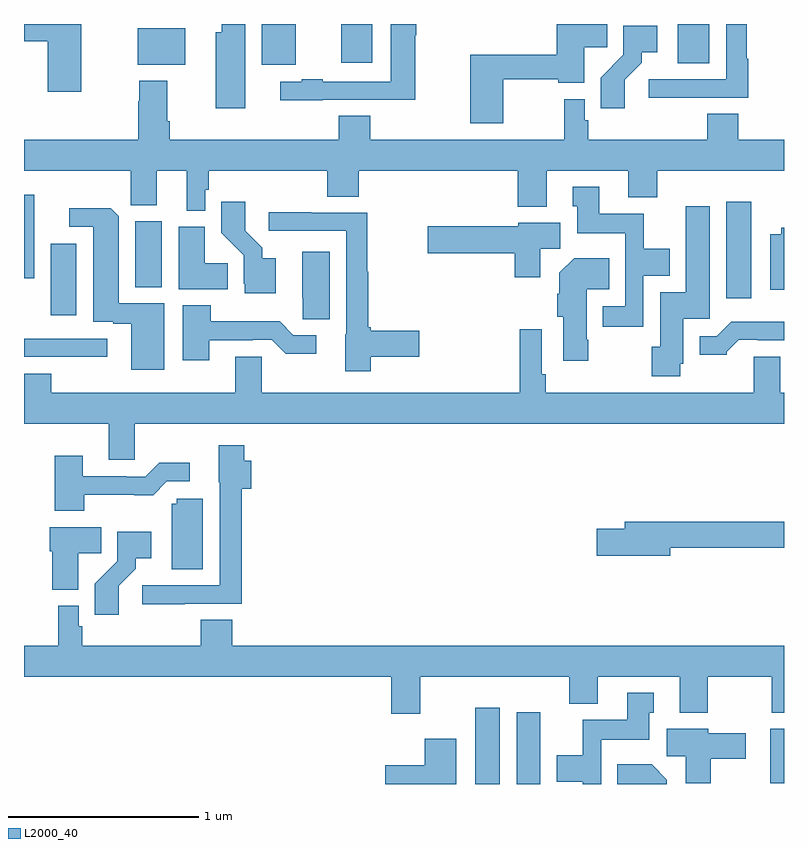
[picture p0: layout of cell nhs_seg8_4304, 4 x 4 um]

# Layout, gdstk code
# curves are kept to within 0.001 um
import gdstk
lib = gdstk.Library(unit=1e-6, precision=1e-09)
def R(c, l, rs):  # rectangles x0, y0, x1, y1
    for r in rs: c.add(gdstk.rectangle(r[:2], r[2:], *l))
def P(c, l, *ps):  # polygons
    for p in ps: c.add(gdstk.Polygon(p, *l))
L2000_40 = (2000, 40)

nhs_seg8_4304 = lib.new_cell('nhs_seg8_4304')
R(nhs_seg8_4304, L2000_40, [(375.374,1151.9,375.505,1152.301), (375.593,1151.9,375.718,1152.277), (376.928,1151.904,377,1152.19), (373,1154.148,373.438,1154.244), (373.142,1154.367,373.276,1154.743), (376.697,1154.457,376.828,1154.965), (373.586,1154.515,373.726,1154.862), (373,1154.562,373.054,1155.001), (373.598,1155.686,373.849,1155.877), (374.252,1155.686,374.431,1155.9), (376.442,1155.694,376.606,1155.9), (374.669,1155.696,374.833,1155.9)])
P(nhs_seg8_4304, L2000_40, [(373.302,1155.9),(373,1155.9),(373,1155.808),(373.124,1155.808),(373.124,1155.543),(373.302,1155.543)],
  [(374.573,1155.501),(375.06,1155.501),(375.06,1155.841),(375.065,1155.841),(375.065,1155.9),(374.93,1155.9),(374.93,1155.597),(374.573,1155.597),(374.573,1155.61),(374.461,1155.61),(374.461,1155.597),(374.349,1155.597),(374.349,1155.5),(374.573,1155.5)],
  [(374.164,1155.9),(374.042,1155.9),(374.042,1155.856),(374.009,1155.856),(374.009,1155.456),(374.164,1155.456)],
  [(375.522,1155.609),(375.812,1155.609),(375.812,1155.59),(375.949,1155.59),(375.949,1155.778),(376.07,1155.778),(376.07,1155.9),(375.805,1155.9),(375.805,1155.737),(375.61,1155.737),(375.61,1155.738),(375.349,1155.738),(375.349,1155.378),(375.522,1155.378)],
  [(376.511,1155.513),(376.811,1155.513),(376.811,1155.716),(376.804,1155.716),(376.804,1155.9),(376.695,1155.9),(376.695,1155.609),(376.287,1155.609),(376.287,1155.511),(376.511,1155.511)],
  [(376.162,1155.607),(376.252,1155.697),(376.252,1155.752),(376.333,1155.752),(376.333,1155.892),(376.155,1155.892),(376.155,1155.737),(376.036,1155.618),(376.036,1155.456),(376.162,1155.456)],
  [(373.953,1155.027),(373.973,1155.027),(373.973,1155.128),(374.597,1155.128),(374.597,1154.992),(374.762,1154.992),(374.762,1155.128),(375.599,1155.128),(375.599,1154.939),(375.751,1154.939),(375.751,1155.128),(376.181,1155.128),(376.181,1154.987),(376.334,1154.987),(376.334,1155.128),(377,1155.128),(377,1155.292),(376.76,1155.292),(376.76,1155.428),(376.595,1155.428),(376.595,1155.292),(375.971,1155.292),(375.971,1155.393),(375.951,1155.393),(375.951,1155.505),(375.843,1155.505),(375.843,1155.292),(374.822,1155.292),(374.822,1155.416),(374.657,1155.416),(374.657,1155.292),(373.766,1155.292),(373.766,1155.388),(373.753,1155.388),(373.753,1155.601),(373.606,1155.601),(373.606,1155.494),(373.601,1155.494),(373.601,1155.292),(373,1155.292),(373,1155.128),(373.561,1155.128),(373.561,1154.947),(373.699,1154.947),(373.699,1155.128),(373.856,1155.128),(373.856,1154.918),(373.953,1154.918)],
  [(376.26,1154.576),(376.399,1154.576),(376.399,1154.716),(376.263,1154.716),(376.263,1154.902),(376.027,1154.902),(376.027,1155.043),(375.887,1155.043),(375.887,1154.94),(375.911,1154.94),(375.911,1154.798),(376.164,1154.798),(376.164,1154.415),(376.047,1154.415),(376.047,1154.307),(376.26,1154.307)],
  [(374.326,1154.668),(374.254,1154.668),(374.254,1154.723),(374.164,1154.813),(374.164,1154.965),(374.038,1154.965),(374.038,1154.802),(374.157,1154.683),(374.157,1154.532),(374.162,1154.532),(374.162,1154.483),(374.326,1154.483)],
  [(376.455,1154.112),(376.471,1154.112),(376.471,1154.349),(376.609,1154.349),(376.609,1154.941),(376.484,1154.941),(376.484,1154.488),(376.349,1154.488),(376.349,1154.202),(376.303,1154.202),(376.303,1154.046),(376.455,1154.046)],
  [(373.738,1154.43),(373.498,1154.43),(373.498,1154.888),(373.457,1154.93),(373.239,1154.93),(373.239,1154.832),(373.364,1154.832),(373.364,1154.334),(373.469,1154.334),(373.469,1154.322),(373.565,1154.322),(373.565,1154.079),(373.738,1154.079)],
  [(374.826,1154.15),(375.079,1154.15),(375.079,1154.285),(374.826,1154.285),(374.826,1154.303),(374.813,1154.303),(374.813,1154.595),(374.806,1154.595),(374.806,1154.907),(374.513,1154.907),(374.513,1154.91),(374.289,1154.91),(374.289,1154.811),(374.697,1154.811),(374.697,1154.268),(374.69,1154.268),(374.69,1154.072),(374.826,1154.072)],
  [(375.718,1154.716),(375.823,1154.716),(375.823,1154.854),(375.6,1154.854),(375.6,1154.835),(375.126,1154.835),(375.126,1154.693),(375.584,1154.693),(375.584,1154.568),(375.718,1154.568)],
  [(374.072,1154.642),(373.951,1154.642),(373.951,1154.833),(373.814,1154.833),(373.814,1154.504),(374.072,1154.504)],
  [(377,1154.827),(376.986,1154.827),(376.986,1154.794),(376.928,1154.794),(376.928,1154.501),(377,1154.501)],
  [(374.608,1154.701),(374.465,1154.701),(374.465,1154.458),(374.466,1154.458),(374.466,1154.347),(374.608,1154.347)],
  [(375.969,1154.239),(375.961,1154.239),(375.961,1154.504),(376.079,1154.504),(376.079,1154.668),(375.896,1154.668),(375.818,1154.59),(375.818,1154.48),(375.806,1154.48),(375.806,1154.358),(375.839,1154.358),(375.839,1154.127),(375.969,1154.127)],
  [(373.975,1154.235),(374.204,1154.235),(374.204,1154.238),(374.304,1154.238),(374.377,1154.165),(374.539,1154.165),(374.539,1154.262),(374.418,1154.262),(374.345,1154.335),(373.983,1154.335),(373.983,1154.419),(373.835,1154.419),(373.835,1154.13),(373.975,1154.13)],
  [(376.698,1154.174),(376.762,1154.238),(376.861,1154.238),(376.861,1154.235),(377,1154.235),(377,1154.332),(376.723,1154.332),(376.647,1154.256),(376.556,1154.256),(376.556,1154.159),(376.698,1154.159)],
  [(373.584,1153.796),(377,1153.796),(377,1153.96),(376.981,1153.96),(376.981,1154.15),(376.841,1154.15),(376.841,1153.96),(375.746,1153.96),(375.746,1154.056),(375.726,1154.056),(375.726,1154.293),(375.61,1154.293),(375.61,1153.96),(374.25,1153.96),(374.25,1154.15),(374.111,1154.15),(374.111,1153.96),(373.143,1153.96),(373.143,1154.059),(373,1154.059),(373,1153.796),(373.445,1153.796),(373.445,1153.606),(373.584,1153.606)],
  [(373.847,1152.849),(374.147,1152.849),(374.147,1153.454),(374.195,1153.454),(374.195,1153.602),(374.16,1153.602),(374.16,1153.684),(374.024,1153.684),(374.024,1153.488),(374.031,1153.488),(374.031,1152.945),(373.623,1152.945),(373.623,1152.847),(373.847,1152.847)],
  [(373.317,1153.422),(373.679,1153.421),(373.752,1153.494),(373.873,1153.494),(373.873,1153.591),(373.711,1153.591),(373.638,1153.518),(373.538,1153.518),(373.538,1153.521),(373.309,1153.521),(373.309,1153.627),(373.162,1153.627),(373.162,1153.337),(373.317,1153.337)],
  [(373.942,1153.401),(373.803,1153.401),(373.803,1153.374),(373.778,1153.374),(373.778,1153.03),(373.942,1153.03)],
  [(376.402,1153.144),(377,1153.144),(377,1153.28),(376.163,1153.28),(376.163,1153.244),(376.014,1153.244),(376.014,1153.102),(376.402,1153.102)],
  [(373.285,1153.114),(373.406,1153.114),(373.406,1153.252),(373.136,1153.252),(373.136,1153.125),(373.148,1153.125),(373.148,1152.923),(373.285,1152.923)],
  [(373.498,1152.943),(373.588,1153.033),(373.588,1153.088),(373.669,1153.088),(373.669,1153.228),(373.491,1153.228),(373.491,1153.073),(373.372,1152.954),(373.372,1152.792),(373.498,1152.792)],
  [(375.085,1152.464),(375.869,1152.464),(375.869,1152.323),(376.021,1152.323),(376.021,1152.464),(376.451,1152.464),(376.451,1152.275),(376.599,1152.275),(376.599,1152.464),(376.936,1152.464),(376.936,1152.275),(377,1152.275),(377,1152.628),(374.096,1152.628),(374.096,1152.764),(373.931,1152.764),(373.931,1152.628),(373.307,1152.628),(373.307,1152.729),(373.287,1152.729),(373.287,1152.838),(373.179,1152.838),(373.179,1152.628),(373,1152.628),(373,1152.464),(374.933,1152.464),(374.933,1152.27),(375.085,1152.27)],
  [(376.038,1152.134),(376.291,1152.134),(376.291,1152.276),(376.315,1152.276),(376.315,1152.379),(376.175,1152.379),(376.175,1152.238),(375.94,1152.238),(375.94,1152.052),(375.803,1152.052),(375.803,1151.912),(375.942,1151.912),(375.942,1151.9),(376.038,1151.9)],
  [(376.614,1152.032),(376.798,1152.032),(376.798,1152.166),(376.602,1152.166),(376.602,1152.19),(376.382,1152.19),(376.382,1152.046),(376.484,1152.046),(376.484,1151.904),(376.614,1151.904)],
  [(375.274,1152.139),(375.11,1152.139),(375.11,1151.998),(374.901,1151.998),(374.901,1151.9),(375.274,1151.9)],
  [(376.384,1151.923),(376.303,1152.004),(376.123,1152.004),(376.123,1151.9),(376.384,1151.9)])

lib.write_gds('nhs_seg8_4304.gds')
